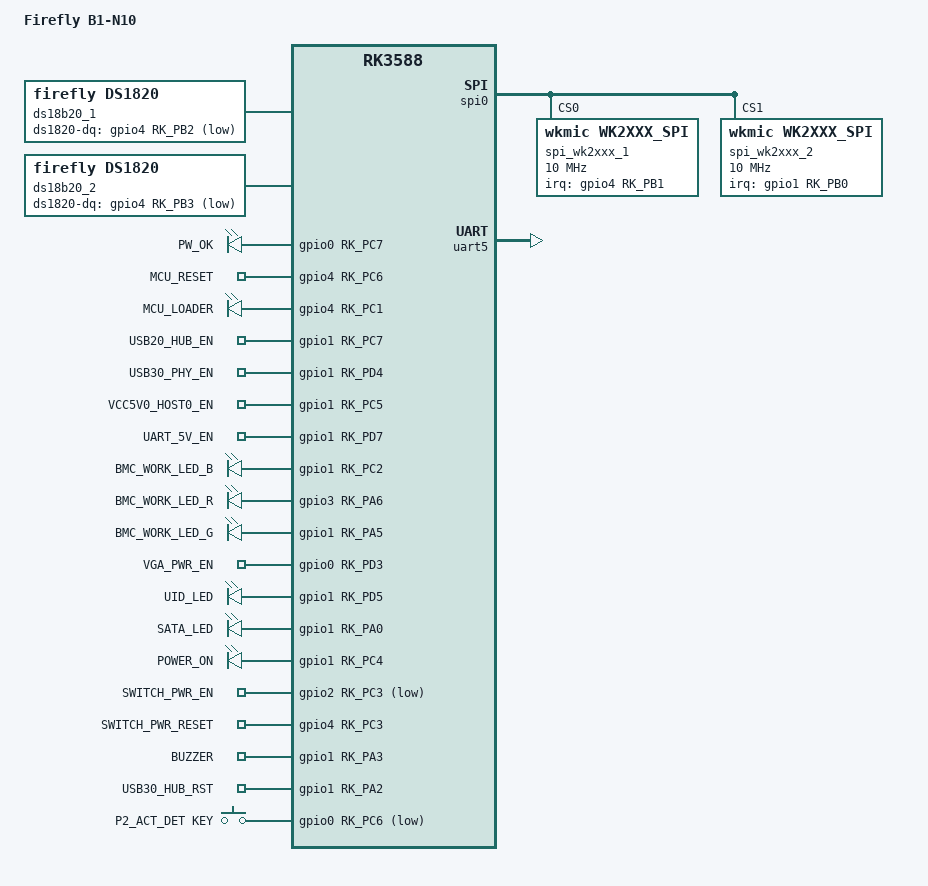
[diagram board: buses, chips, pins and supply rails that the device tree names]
// SPDX-License-Identifier: (GPL-2.0+ OR MIT)
/*
 * Copyright (c) 2021 Rockchip Electronics Co., Ltd.
 *
 */

/dts-v1/;

#include "B1-3588-jd4-main.dtsi"
// #include "B1-3588-jd4-main-EDPtoVGA_LT8711V.dtsi"

/ {
	model = "Firefly B1-N10";
	compatible = "rockchip,aio-3588jd4", "rockchip,rk3588";

	/delete-node/ es8388_sound;


	ds18b20_1 {
		// Front sersonr
		compatible = "firefly,ds1820";
		status = "okay";
		ds1820-dq = <&gpio4 RK_PB2 GPIO_ACTIVE_LOW>; //GPIO4_B2 TEMP_DET_1
		ds18b20-id = <1>;
		pinctrl-names = "default";
		pinctrl-0 = <&ds18b20_dp_1_pin>;
	};

	ds18b20_2 {
		compatible = "firefly,ds1820";
		ds1820-dq = <&gpio4 RK_PB3 GPIO_ACTIVE_LOW>; //GPIO4_B3 TEMP_DET_2
		ds18b20-id = <2>;
		status = "okay";
		pinctrl-names = "default";
		pinctrl-0 = <&ds18b20_dp_2_pin>;
	};


	leds {
		compatible = "gpio-leds";
		status = "okay";
		/delete-node/ user;

		// BUZZER_CTL {
		// 	label = "BUZZER_CTL";
		// 	gpios = <&gpio0 RK_PD5 GPIO_ACTIVE_HIGH>;	//GPIO0_D5
		// 	default-state = "on";
		// 	retain-state-shutdown;
		// };

		PW_OK {
			label = "PW_OK";
			gpios = <&gpio0 RK_PC7 GPIO_ACTIVE_HIGH>;	//GPIO0_C7
			default-state = "on";
			retain-state-shutdown;
		};

		MCU_RESET {
			label = "MCU_RESET";
			gpios = <&gpio4 RK_PC6 GPIO_ACTIVE_HIGH>;	//GPIO4_C6
			default-state = "off";
			retain-state-shutdown;
		};

		MCU_BOOT {
			label = "MCU_LOADER";
			gpios = <&gpio4 RK_PC1 GPIO_ACTIVE_HIGH>;	//GPIO4_C1
			default-state = "on";
			retain-state-shutdown;
		};

		USB20_HUB_EN {
			label = "USB20_HUB_EN";
			gpios = <&gpio1 RK_PC7 GPIO_ACTIVE_HIGH>;	//GPIO1_C7
			default-state = "on";
			retain-state-shutdown;
		};

		USB30_PHY_EN {
			label = "USB30_PHY_EN";
			gpios = <&gpio1 RK_PD4 GPIO_ACTIVE_HIGH>;	//GPIO1_D4
			default-state = "on";
			retain-state-shutdown;
		};

		VCC5V0_HOST0_EN {
			label = "VCC5V0_HOST0_EN";
			gpios = <&gpio1 RK_PC5 GPIO_ACTIVE_HIGH>;	//GPIO1_C5
			default-state = "on";
			retain-state-shutdown;
		};

		// VCC5V0_HOST1_EN {
		// 	label = "VCC5V0_HOST1_EN";
		// 	gpios = <&gpio1 RK_PC3 GPIO_ACTIVE_HIGH>;	//GPIO1_C3
		// 	default-state = "on";
		// 	retain-state-shutdown;
		// };

		UART_5V_EN {
			label = "UART_5V_EN";
			gpios = <&gpio1 RK_PD7 GPIO_ACTIVE_HIGH>;	//GPIO1_D7
			default-state = "on";
			retain-state-shutdown;
		};


		BMC_WORK_LED_B {
			label = "BMC_WORK_LED_B";
			gpios = <&gpio1 RK_PC2 GPIO_ACTIVE_HIGH>;	//GPIO1_C2
			default-state = "on";
			retain-state-shutdown;
			pinctrl-names = "default";
			pinctrl-0 = <&BMC_WORK_LED_B_GPIO>;
		};

		BMC_WORK_LED_R {
			label = "BMC_WORK_LED_R";
			gpios = <&gpio3 RK_PA6 GPIO_ACTIVE_HIGH>;	//GPIO3_A6
			default-state = "off";
			retain-state-shutdown;
		};


		BMC_WORK_LED_G {
			label = "BMC_WORK_LED_G";
			gpios = <&gpio1 RK_PA5 GPIO_ACTIVE_HIGH>;	//GPIO1_A5
			default-state = "off";
			retain-state-shutdown;
		};


		VGA_PWR_EN {
			label = "VGA_PWR_EN";
			gpios = <&gpio0 RK_PD3 GPIO_ACTIVE_HIGH>;	//GPIO0_D3
			default-state = "on";
			retain-state-shutdown;
		};

		UID_LED {
			label = "UID_LED";
			gpios = <&gpio1 RK_PD5 GPIO_ACTIVE_HIGH>;	//GPIO1_D5
			default-state = "on";
			retain-state-shutdown;
		};


		SATA_LED {
			label = "SATA_LED";
			gpios = <&gpio1 RK_PA0 GPIO_ACTIVE_HIGH>;	//GPIO1_A0
			default-state = "on";
			retain-state-shutdown;
		};

		POWER_ON {
			label = "POWER_ON";
			gpios = <&gpio1 RK_PC4 GPIO_ACTIVE_HIGH>;	//GPIO1_C4
			default-state = "on";
			retain-state-shutdown;
			pinctrl-names = "default";
			pinctrl-0 = <&POWER_ON_GPIO>;
		};

		SWITCH_PWR_EN {
			label = "SWITCH_PWR_EN";
			gpios = <&gpio2 RK_PC3 GPIO_ACTIVE_LOW>;	//GPIO2_C3
			default-state = "on";
			retain-state-shutdown;
		};

		SWITCH_PWR_RESET {
			label = "SWITCH_PWR_RESET";
			gpios = <&gpio4 RK_PC3 GPIO_ACTIVE_HIGH>;	//GPIO4_C3
			default-state = "off";
			retain-state-shutdown;
		};

		BUZZER_CTL {
			label = "BUZZER";
			gpios = <&gpio1 RK_PA3 GPIO_ACTIVE_HIGH>;	//GPIO1_A3
			default-state = "off";
			retain-state-shutdown;
		};

		USB30_HUB_RST {
			label = "USB30_HUB_RST";
			gpios = <&gpio1 RK_PA2 GPIO_ACTIVE_HIGH>;	//GPIO1_A2
			default-state = "off";
			retain-state-shutdown;
		};
	};

	// gpio-keys {
	// 	compatible = "gpio-keys";
	// 	#address-cells = <1>;
	// 	#size-cells = <0>;
	// 	autorepeat;
	// 	status = "okay";

	// 	pinctrl-names = "default";
	// 	pinctrl-0 = <&SWITCH_SYS_DET_BUTTON>;

	// 	button@SWITCH_SYS_DET {
	// 		gpios = <&gpio1 RK_PA5 GPIO_ACTIVE_LOW>;            //power_key       GPIO1_A7
	// 		linux,code = <KEY_POWER>;
	// 		label = "SWITCH_SYS_DET KEY";
	// 		linux,input-type = <1>;
	// 		gpio-key,wakeup = <1>;
	// 		debounce-interval = <100>;
	// 	};
	// };

	gpio-keys {
		compatible = "gpio-keys";
		autorepeat;

		// button@SWITCH_SYS_DET {
		// 	gpios = <&gpio1 RK_PA7 GPIO_ACTIVE_LOW>;            //power_key       GPIO1_A7
		// 	linux,code = <KEY_1>;
		// 	label = "SWITCH_SYS_DET KEY";
		// 	linux,input-type = <0x3f>;
		// 	// gpio-key,wakeup = <1>;
		// 	// debounce-interval = <100>;
		// };


		// button@SFP2_ACT_DET {
		// 	gpios = <&gpio0 RK_PB7 GPIO_ACTIVE_LOW>;            //power_key       GPIO0_B7
		// 	linux,code = <KEY_1>;
		// 	label = "SFP2_ACT_DET KEY";
		// 	linux,input-type = <0x3f>;
		// 	// gpio-key,wakeup = <1>;
		// 	// debounce-interval = <100>;
		// };

		// button@P2_ACT_DET {
		// 	gpios = <&gpio0 RK_PC0 GPIO_ACTIVE_LOW>;            //power_key       GPIO0_C0
		// 	linux,code = <KEY_1>;
		// 	label = "P2_ACT_DET KEY";
		// 	linux,input-type = <0x3f>;
		// 	// gpio-key,wakeup = <1>;
		// 	// debounce-interval = <100>;
		// };


		button@RESET {
			gpios = <&gpio0 RK_PC6 GPIO_ACTIVE_LOW>;            //power_key       GPIO0_C6
			linux,code = <10000>;
			label = "P2_ACT_DET KEY";
			linux,input-type = <EV_KEY>;
			// gpio-key,wakeup = <1>;
			debounce-interval = <100>;
		};

		// 错了！！！
		// button@SFP3_ACT_DET {
		// 	gpios = <&gpio1 RK_PA7 GPIO_ACTIVE_LOW>;            //power_key       GPIO1_A7
		// 	linux,code = <KEY_1>;
		// 	label = "SFP3_ACT_DET KEY";
		// 	linux,input-type = <0x3f>;
		// 	// gpio-key,wakeup = <1>;
		// 	debounce-interval = <100>;
		// };

		// 错了！！！
		// button@P3_ACT {
		// 	gpios = <&gpio1 RK_PA7 GPIO_ACTIVE_LOW>;            //power_key       GPIO1_A7
		// 	linux,code = <KEY_1>;
		// 	label = "SFP2_ACT_DET KEY";
		// 	linux,input-type = <0x3f>;
		// 	// gpio-key,wakeup = <1>;
		// 	debounce-interval = <100>;
		// };
	};

};


&rgb {
	status = "disabled";
};



&i2s1_8ch {
	status = "disabled";
};




&spi0 {
	status = "okay";
	max-freq = <48000000>;
	pinctrl-names = "default";
	pinctrl-0 = <&spi0m3_cs0 &spi0m3_cs1 &spi0m3_pins>;

	spi_wk2xxx_1: spi_wk2xxx_1@0{
		status = "okay";
		compatible = "wkmic,wk2xxx_spi";
		reg = <0x00>;
		index_base = <1>; // 偏移1，即从ttysWK1开始递增，而非ttysWK0
		num-ports = <4>;  // 4个串口模式
		spi-max-frequency = <10000000>;
		irq-gpio = <&gpio4 RK_PB1 IRQ_TYPE_EDGE_FALLING>;       // WK2124_INT   GPIO4_B1
		firefly,spi0;
	};

	spi_wk2xxx_2: spi_wk2xxx_2@1{
		status = "okay";
		compatible = "wkmic,wk2xxx_spi";
		reg = <0x01>;
		index_base = <5>; // 偏移1，即从ttysWK1开始递增，而非ttysWK0
		num-ports = <4>;  // 4个串口模式
		spi-max-frequency = <10000000>;
		irq-gpio = <&gpio1 RK_PB0 IRQ_TYPE_EDGE_FALLING>;       // WK2124_INT   GPIO1_B0
		firefly,spi0;
	};
};

//debug 115200 232
&fiq_debugger{
    rockchip,baudrate = <115200>;  /* Only 115200 and 1500000 */
};



/* pinctrl */
&pinctrl {
	ds18b20-dp-1 {
		ds18b20_dp_1_pin: ds18b20-dp-1-pin {
			rockchip,pins = <4 RK_PB2 RK_FUNC_GPIO &pcfg_pull_none>;  //GPIO4_B2
		};
	};

	ds18b20-dp-2 {
		ds18b20_dp_2_pin: ds18b20-dp-2-pin {
			rockchip,pins = <4 RK_PB3 RK_FUNC_GPIO &pcfg_pull_none>;  //GPIO4_B3
		};
	};
    leds {
		POWER_ON_GPIO: POWER-ON-GPIO {
			/* led_power */
			rockchip,pins = <1 RK_PC4 RK_FUNC_GPIO &pcfg_pull_none>;
		};

		BMC_WORK_LED_B_GPIO: BMC-WORK-LED-B-GPIO {
			/* led_power */
			rockchip,pins = <1 RK_PC2 RK_FUNC_GPIO &pcfg_pull_up>;
		};
 	};
	wk2xxx-irq-gpios {
		wk2xxx_1_irq_gpios: wk2xxx-1-irq-gpios{
			rockchip,pins = <3 RK_PD4 RK_FUNC_GPIO &pcfg_pull_none>; // GPIO3_D4
		};

		// wk2xxx_2_irq_gpios: wk2xxx-2-irq-gpios{
		// 	rockchip,pins = <3 RK_PD5 RK_FUNC_GPIO &pcfg_pull_none>; // GPIO3_D5
		// };
	};
};


// CORE10_DEBUG
&uart5 {
        status = "okay";
        pinctrl-0 = <&uart5m0_xfer>;
};

&sdmmc {
status = "disabled";
};

&uart6 {
	status = "disabled";
};


// // CORE9_DEBUG
// &uart2 {
// 	status = "okay";
// };




&pwm5 {
//  pinctrl-0 = <&pwm5m1_pins>;
	status = "disabled";
};



&i2s0_8ch{
	status = "disabled";
};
